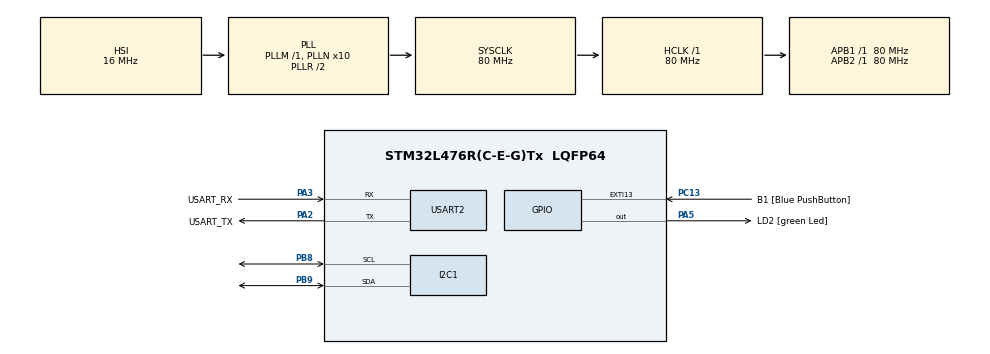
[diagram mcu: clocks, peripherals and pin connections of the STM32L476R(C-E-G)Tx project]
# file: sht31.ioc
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Mcu.Family=STM32L4
Mcu.Name=STM32L476R(C-E-G)Tx
Mcu.Package=LQFP64
NVIC.PriorityGroup=NVIC_PRIORITYGROUP_4
PA13\ (JTMS-SWDIO).GPIO_Label=TMS
PA13\ (JTMS-SWDIO).Mode=Serial_Wire
PA13\ (JTMS-SWDIO).Signal=SYS_JTMS-SWDIO
PA14\ (JTCK-SWCLK).GPIO_Label=TCK
PA14\ (JTCK-SWCLK).Mode=Serial_Wire
PA14\ (JTCK-SWCLK).Signal=SYS_JTCK-SWCLK
PA2.GPIO_Label=USART_TX
PA2.GPIO_Mode=GPIO_MODE_AF_PP
PA2.GPIO_PuPd=GPIO_NOPULL
PA2.GPIO_Speed=GPIO_SPEED_FREQ_VERY_HIGH
PA2.Mode=Asynchronous
PA2.Signal=USART2_TX
PA3.GPIO_Label=USART_RX
PA3.GPIO_Mode=GPIO_MODE_AF_PP
PA3.GPIO_PuPd=GPIO_NOPULL
PA3.GPIO_Speed=GPIO_SPEED_FREQ_VERY_HIGH
PA3.Mode=Asynchronous
PA3.Signal=USART2_RX
PA5.GPIO_Label=LD2 [green Led]
PA5.GPIO_ModeDefaultOutputPP=GPIO_MODE_OUTPUT_PP
PA5.GPIO_PuPd=GPIO_NOPULL
PA5.GPIO_Speed=GPIO_SPEED_FREQ_LOW
PA5.Signal=GPIO_Output
PB3\ (JTDO-TRACESWO).GPIO_Label=SWO
PB3\ (JTDO-TRACESWO).Signal=SYS_JTDO-SWO
PB8.Mode=I2C
PB8.Signal=I2C1_SCL
PB9.Mode=I2C
PB9.Signal=I2C1_SDA
PC13.GPIO_Label=B1 [Blue PushButton]
PC13.GPIO_ModeDefaultEXTI=GPIO_MODE_IT_FALLING
PC13.GPIO_PuPd=GPIO_NOPULL
PC13.Signal=GPXTI13
PC14-OSC32_IN\ (PC14).Mode=LSE-External-Oscillator
PC14-OSC32_IN\ (PC14).Signal=RCC_OSC32_IN
PC15-OSC32_OUT\ (PC15).Mode=LSE-External-Oscillator
PC15-OSC32_OUT\ (PC15).Signal=RCC_OSC32_OUT
PH0-OSC_IN\ (PH0).Signal=RCC_OSC_IN
PH1-OSC_OUT\ (PH1).Signal=RCC_OSC_OUT
ProjectManager.HeapSize=0x200
ProjectManager.StackSize=0x400
ProjectManager.TargetToolchain=STM32CubeIDE
RCC.ADCFreq_Value=64000000
RCC.AHBFreq_Value=80000000
RCC.APB1Freq_Value=80000000
RCC.APB1TimFreq_Value=80000000
RCC.APB2Freq_Value=80000000
RCC.APB2TimFreq_Value=80000000
RCC.CortexFreq_Value=80000000
RCC.HCLKFreq_Value=80000000
RCC.HSE_VALUE=8000000
RCC.HSI_VALUE=16000000
RCC.MSI_VALUE=4000000
RCC.PLLN=10
RCC.PLLSourceVirtual=RCC_PLLSOURCE_HSI
RCC.PREFETCH_ENABLE=1
RCC.SYSCLKFreq_VALUE=80000000
RCC.SYSCLKSource=RCC_SYSCLKSOURCE_PLLCLK
RCC.USBFreq_Value=64000000
RCC.VCOOutputFreq_Value=160000000
USART2.VirtualMode-Asynchronous=VM_ASYNC
board=NUCLEO-L476RG

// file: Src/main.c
/* USER CODE BEGIN Header */
/**
  ******************************************************************************
  * @file           : main.c
  * @brief          : Main program body
  ******************************************************************************
  * @attention
  *
  * Copyright (c) 2023 STMicroelectronics.
  * All rights reserved.
  *
  * This software is licensed under terms that can be found in the LICENSE file
  * in the root directory of this software component.
  * If no LICENSE file comes with this software, it is provided AS-IS.
  *
  ******************************************************************************
  */
/* USER CODE END Header */

#include "main.h" //include de fachier .h
#include "i2c.h"//include de fachier .h de I2C
#include "usart.h"//include de fachier .h
#include "gpio.h"//include de fachier .h de GPIO

/* USER CODE BEGIN Includes */
#include "lib_lcd.h" //include le fichier lib_lcd pour l'affichage
#define _OPEN_SYS_ITOA_EXT
//#include <stdlib.h>
//#include <string.h>
//#include <stdio.h>

/* USER CODE END Includes */

/* USER CODE BEGIN PV */

static const uint8_t CAPTEUR_ADRS = 0x44 << 1;//adresse de capteur
static const uint8_t CAPTEUR_CMD_MSB = 0x2C;//commande  avec horloge enable et haute Répétabilité pour le capteur
static const uint8_t CAPTEUR_CMD_LSB = 0x06;// paramètres des bits de poids faibles de capteur
static rgb_lcd lcdData;
/* USER CODE END PV */

void SystemClock_Config(void);

int main(void)
{
  /* USER CODE BEGIN 1 */

	HAL_StatusTypeDef ret;
		uint8_t buf[12];//tableau dans lequel on met les octets de capteurs
		volatile uint16_t value;//variable contient la valeur de capteur

		volatile float temp;//variable contient la valeur de la température
		float umid;//variable contient la valeur de la température
		float Decimal_part;// variable contient la valeur dicimale
		float Entier_part;//variable contient la valeur entier

  /* USER CODE END 1 */

  /* MCU Configuration--------------------------------------------
   * ------------*/

  /* Reset of all peripherals, Initializes the Flash interface and the Systick. */
  HAL_Init();//initialisation des périphériques

  /* Configure the system clock */
  SystemClock_Config();

  /* Initialize all configured peripherals */
  MX_GPIO_Init();
  MX_USART2_UART_Init();
  MX_I2C1_Init();//initialisation de I2C
  /* USER CODE BEGIN 2 */

    lcd_init(&hi2c1,&lcdData);
    lcd_position(&hi2c1,0,0);

  /* USER CODE END 2 */

  /* Infinite loop */
  while (1)
  {
	  	  buf[0] = CAPTEUR_CMD_MSB;//on met les paramètres de capteur pour le mode de fonctionnement
	  	  		buf[1] = CAPTEUR_CMD_LSB;//on met la valeur de l'octet de paramètres de capteur
	  	  		ret = HAL_I2C_Master_Transmit( &hi2c1, CAPTEUR_ADRS, buf, 2, HAL_MAX_DELAY);//envoie des octets via I2C
	  	  		if ( ret != HAL_OK)
	  	  		{
	  	  			strcpy((char*)buf, "erreur_T!!\r\n");
	  	  		}
	  	  			else
	  	  		{

	  	  		ret = HAL_I2C_Master_Receive( &hi2c1, CAPTEUR_ADRS, buf, 6, HAL_MAX_DELAY);//réception des octets
	  	  					if ( ret != HAL_OK)
	  	  				{
	  	  					strcpy((char*)buf, "erreur_R!!\r\n");
	  	  				}
	  	  		else
	  	  		{

	  	  			value  =   buf[1] | buf[0] << 8;// le variable value contient la valeur des octets des MSB et LSB de capteur avec un décalge vers la gauche

	  	  			temp = -45 + 175 * ( (float)value / 65535);// on calcule la valeur de la température

	  	  			Entier_part = (int) temp;// récuperation de la partie dicimale de la température
	  	  			Decimal_part = temp;// récuperation de la partie dicimale de la température
	  	  			Decimal_part *= 100;
	  	  			Decimal_part = Decimal_part - (Entier_part * 100);// calcule de la partie dicimale de la température
	  	  			value = buf[4] | buf[3] << 8;

	  	  			umid = -49 + 315 *( (float)value / 65535);
	  	  			sprintf( (char*)buf, "%u.%u C ; %u D", (unsigned int) Entier_part,(unsigned int) Decimal_part,(unsigned int) umid  );
	  	  			lcd_position(&hi2c1,0,0);
	  	  			lcd_print(&hi2c1,"T =  ");//affichage de la température
	  	  			lcd_position(&hi2c1,7,0);
	  	  			lcd_print(&hi2c1,buf);//affichage de la valeur de la  température
	  	  			lcd_position(&hi2c1,0,1);

	  	  			lcd_print(&hi2c1,"H = ");//affichage de l'humidité
	  	  			lcd_position(&hi2c1,7,1);
	  	  			lcd_print(&hi2c1,&buf[10]);//affichage de la valeur de l'humidité

	  	  		}
	  	  		}
	  	  		HAL_UART_Transmit(&huart2, buf, strlen((char*)buf), HAL_MAX_DELAY);//transmission des octets
	  	  		HAL_Delay(1000);

	    }
    /* USER CODE END WHILE */

  }

void SystemClock_Config(void)
{
  RCC_OscInitTypeDef RCC_OscInitStruct = {0};
  RCC_ClkInitTypeDef RCC_ClkInitStruct = {0};
  RCC_PeriphCLKInitTypeDef PeriphClkInit = {0};

  /** Initializes the CPU, AHB and APB busses clocks
  */
  RCC_OscInitStruct.OscillatorType = RCC_OSCILLATORTYPE_HSI;
  RCC_OscInitStruct.HSIState = RCC_HSI_ON;
  RCC_OscInitStruct.HSICalibrationValue = RCC_HSICALIBRATION_DEFAULT;
  RCC_OscInitStruct.PLL.PLLState = RCC_PLL_ON;
  RCC_OscInitStruct.PLL.PLLSource = RCC_PLLSOURCE_HSI;
  RCC_OscInitStruct.PLL.PLLM = 1;
  RCC_OscInitStruct.PLL.PLLN = 10;
  RCC_OscInitStruct.PLL.PLLP = RCC_PLLP_DIV7;
  RCC_OscInitStruct.PLL.PLLQ = RCC_PLLQ_DIV2;
  RCC_OscInitStruct.PLL.PLLR = RCC_PLLR_DIV2;
  if (HAL_RCC_OscConfig(&RCC_OscInitStruct) != HAL_OK)
  {
    Error_Handler();
  }
  /** Initializes the CPU, AHB and APB busses clocks
  */
  RCC_ClkInitStruct.ClockType = RCC_CLOCKTYPE_HCLK|RCC_CLOCKTYPE_SYSCLK
                              |RCC_CLOCKTYPE_PCLK1|RCC_CLOCKTYPE_PCLK2;
  RCC_ClkInitStruct.SYSCLKSource = RCC_SYSCLKSOURCE_PLLCLK;
  RCC_ClkInitStruct.AHBCLKDivider = RCC_SYSCLK_DIV1;
  RCC_ClkInitStruct.APB1CLKDivider = RCC_HCLK_DIV1;
  RCC_ClkInitStruct.APB2CLKDivider = RCC_HCLK_DIV1;

  if (HAL_RCC_ClockConfig(&RCC_ClkInitStruct, FLASH_LATENCY_4) != HAL_OK)
  {
    Error_Handler();
  }
  PeriphClkInit.PeriphClockSelection = RCC_PERIPHCLK_USART2|RCC_PERIPHCLK_I2C1;
  PeriphClkInit.Usart2ClockSelection = RCC_USART2CLKSOURCE_PCLK1;
  PeriphClkInit.I2c1ClockSelection = RCC_I2C1CLKSOURCE_PCLK1;
  if (HAL_RCCEx_PeriphCLKConfig(&PeriphClkInit) != HAL_OK)
  {
    Error_Handler();
  }
  /** Configure the main internal regulator output voltage
  */
  if (HAL_PWREx_ControlVoltageScaling(PWR_REGULATOR_VOLTAGE_SCALE1) != HAL_OK)
  {
    Error_Handler();
  }
}

void Error_Handler(void)
{
  __disable_irq();
  while (1)
  {
  }
}

/************************ (C) COPYRIGHT STMicroelectronics *****END OF FILE****/
